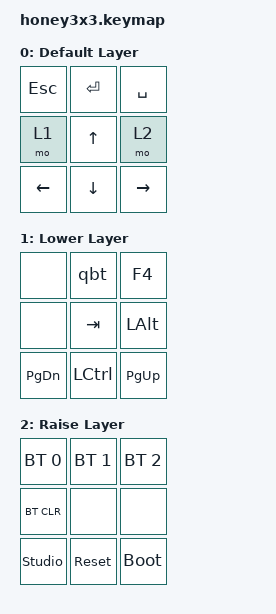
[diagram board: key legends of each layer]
#include <behaviors.dtsi>
#include <dt-bindings/zmk/keys.h>
#include <dt-bindings/zmk/bt.h>

/ {

	macros {
        qbt: qbt {
            compatible = "zmk,behavior-macro";
            #binding-cells = <0>;
            bindings
                = <&macro_press &kp LCTRL>
                , <&macro_tap &kp SPACE>
                , <&macro_release &kp LCTRL>
				, <&macro_wait_time 500>
				, <&macro_tap &kp Q &kp B &kp RET>
                ;
        };
    };


    keymap {
        compatible = "zmk,keymap";
		
        default_layer {
            display-name = "Default Layer";

            bindings = <
               &kp ESC  &kp RET  &kp SPACE
               &mo 1    &kp UP   &mo 2
               &kp LEFT &kp DOWN &kp RIGHT
            >;

        };
        
        lower_layer {
            display-name = "Lower Layer";
			
            bindings = <
               &none    	&qbt			&kp F4
               &none    	&kp TAB     	&kp LALT
               &kp PG_DN   	&kp LCTRL   	&kp PG_UP
            >;
        };

        raise_layer {
            display-name = "Raise Layer";
			
            bindings = <
              &bt BT_SEL 0   &bt BT_SEL 1 &bt BT_SEL 2
              &bt BT_CLR     &none        &none
              &studio_unlock &sys_reset   &bootloader
            >;
        };
    };
};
